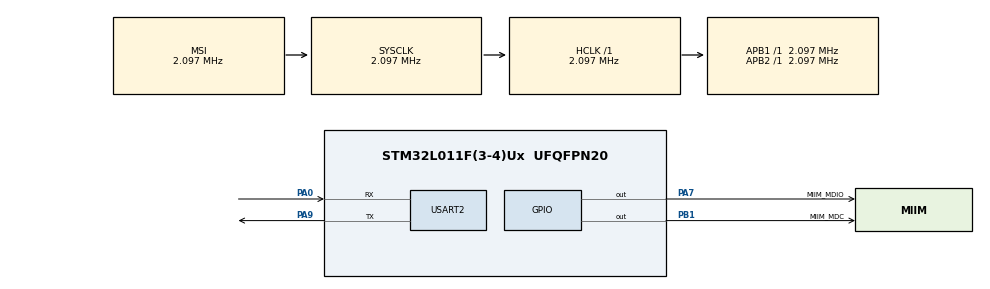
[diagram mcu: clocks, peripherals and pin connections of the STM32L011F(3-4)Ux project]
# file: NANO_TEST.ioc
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Mcu.Family=STM32L0
RCC.MSI_VALUE=2097000
Dma.USART2_TX.1.Priority=DMA_PRIORITY_LOW
PA0-CK_IN.Mode=Asynchronous
Dma.USART2_TX.1.MemInc=DMA_MINC_ENABLE
Dma.USART2_RX.0.Direction=DMA_PERIPH_TO_MEMORY
Dma.USART2_TX.1.PeriphDataAlignment=DMA_PDATAALIGN_BYTE
ProjectManager.StackSize=0x400
Dma.USART2_RX.0.Mode=DMA_NORMAL
PA13.Signal=SYS_SWDIO
RCC.HSI16_VALUE=16000000
PA9.Mode=Asynchronous
ProjectManager.TargetToolchain=STM32CubeIDE
Dma.USART2_RX.0.Priority=DMA_PRIORITY_LOW
Dma.USART2_RX.0.PeriphDataAlignment=DMA_PDATAALIGN_BYTE
RCC.APB2TimFreq_Value=2097000
PA9.Signal=USART2_TX
Dma.USART2_TX.1.Mode=DMA_NORMAL
RCC.LSE_VALUE=32768
RCC.AHBFreq_Value=2097000
RCC.HSE_VALUE=8000000
Dma.USART2_TX.1.PeriphInc=DMA_PINC_DISABLE
board=custom
USART2.VirtualMode-Asynchronous=VM_ASYNC
RCC.VCOOutputFreq_Value=48000000
NVIC.DMA1_Channel4_5_IRQn=true\:0\:0\:false\:false\:true\:false\:true
PA0-CK_IN.Signal=USART2_RX
Dma.USART2_TX.1.Direction=DMA_MEMORY_TO_PERIPH
RCC.APB2Freq_Value=2097000
Dma.USART2_RX.0.MemDataAlignment=DMA_MDATAALIGN_BYTE
PA14.Mode=Serial_Wire
Dma.USART2_TX.1.Instance=DMA1_Channel4
PB1.GPIO_Label=MIIM_MDC
Dma.USART2_RX.0.Instance=DMA1_Channel5
PA13.Mode=Serial_Wire
Mcu.Name=STM32L011F(3-4)Ux
Dma.USART2_RX.0.MemInc=DMA_MINC_ENABLE
RCC.SYSCLKFreq_VALUE=2097000
Mcu.Package=UFQFPN20
PB1.Signal=GPIO_Output
PA7.GPIO_Label=MIIM_MDIO
Dma.USART2_RX.0.PeriphInc=DMA_PINC_DISABLE
PA14.Signal=SYS_SWCLK
ProjectManager.HeapSize=0x200
RCC.HSI_VALUE=16000000
Dma.Request1=USART2_TX
RCC.APB1TimFreq_Value=2097000
Dma.USART2_TX.1.MemDataAlignment=DMA_MDATAALIGN_BYTE
RCC.APB1Freq_Value=2097000
Dma.Request0=USART2_RX
PA7.Signal=GPIO_Output

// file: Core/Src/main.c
/* USER CODE BEGIN Header */
/**
  ******************************************************************************
  * @file           : main.c
  * @brief          : Main program body
  ******************************************************************************
  * @attention
  *
  * <h2><center>&copy; Copyright (c) 2021 STMicroelectronics.
  * All rights reserved.</center></h2>
  *
  * This software component is licensed by ST under BSD 3-Clause license,
  * the "License"; You may not use this file except in compliance with the
  * License. You may obtain a copy of the License at:
  *                        opensource.org/licenses/BSD-3-Clause
  *
  ******************************************************************************
  */
/* USER CODE END Header */
#include "main.h"
#include "miim_library_nano.h"

/* USER CODE BEGIN PD */
#define buffer_size 4
#define stop_condition 100
#define erase_condition 101

#define data_eeprom_base_addr 0x08080000
#define data_eeprom_end_addr 0x080801FF

#define maximum_commands 20

#define data_eeprom_first_byte_mask 255
#define data_eeprom_second_byte_mask 65280
#define data_eeprom_third_byte_mask 16711680
#define data_eeprom_fourth_byte_mask 4278190080
/* USER CODE END PD */

UART_HandleTypeDef huart2;
DMA_HandleTypeDef hdma_usart2_rx;
DMA_HandleTypeDef hdma_usart2_tx;

/* USER CODE BEGIN PV */
uint8_t Is_Commands_Ready = 0;

uint8_t Error[] = {2};
uint8_t Success[] = {1};

uint8_t Buffer_Tx[buffer_size] = {80,81,82,83};
uint8_t Buffer_Rx[buffer_size];

uint8_t Generic_Index;
uint32_t Current_Eeprom_Addr;

uint8_t Commands_Total[maximum_commands][buffer_size];
uint8_t Commands_Current_Index = 0;

uint8_t PHY;
uint8_t REG;
uint16_t Data;

uint8_t Condition;

/* USER CODE END PV */

void SystemClock_Config(void);
static void MX_GPIO_Init(void);
static void MX_DMA_Init(void);
static void MX_USART2_UART_Init(void);

/* USER CODE BEGIN 0 */
void HAL_UART_RxCpltCallback(UART_HandleTypeDef *huart) {
	if(Is_Erase()) {
		Erase_Eeprom_All();
	} else if(Has_Stopped()) {
		Is_Commands_Ready = 1;
	} else {
		Store_Temp_Command();
	}

	HAL_UART_Receive_DMA(&huart2, Buffer_Rx, buffer_size);
}

uint8_t Has_Stopped() {
	uint8_t value_to_check = Buffer_Rx[0];
	switch(value_to_check) {
		case stop_condition:
			return 1;
		default:
			return 0;
	}
	return 0;
}

uint8_t Is_Erase() {
	uint8_t value_to_check = Buffer_Rx[0];
	switch(value_to_check) {
		case erase_condition:
			return 1;
		default:
			return 0;
	}
	return 0;
}

void Store_Temp_Command() {
	for(Generic_Index = 0; Generic_Index < buffer_size; Generic_Index++) {
		Commands_Total[Commands_Current_Index][Generic_Index] = Buffer_Rx[Generic_Index];
	}

	Commands_Current_Index++;
}

void Write_Commands_To_IC() {
	for(uint8_t Cmd_Index = 0; Cmd_Index < maximum_commands; Cmd_Index++) {
		PHY = Commands_Total[Cmd_Index][0];
		REG = Commands_Total[Cmd_Index][1];

		// Test to see if PHY or REG are not acceptable values
		if(PHY < 2 || PHY > 24 || REG < 0 || REG > 32) {
			break;
		}

		// We are going to assume that for now, the data is sent with the smallest byte [0:7] bits first, then [8:15]
		Data = ((uint16_t) Commands_Total[Cmd_Index][3] << 8) | (Commands_Total[Cmd_Index][2]);

		MIIM_DRIVER_WRITE(PHY, REG, Data);
		MDIO_WAIT(1);
	}

	// Uncomment the following code to verify what was written to the MCU
	/*
	for(uint8_t Cmd_Index = 0; Cmd_Index < maximum_commands; Cmd_Index++) {
		PHY = Commands_Total[Cmd_Index][0];
		REG = Commands_Total[Cmd_Index][1];
		if(PHY < 2 || PHY > 24 || REG < 0 || REG > 32) {
			break;
		}

		// To verify what was written to the switch chip, add "dynamic printf"-type breakpoint to the following MDIO_WAIT line.
		// "%u:%02u 0x%02x 0x%02x (%u %u)\n", PHY, REG, Data & 0xFF, (Data >> 8) & 0xFF, Data & 0xFF, (Data >> 8) & 0xFF
		Data = MIIM_DRIVER_READ(PHY, REG);
		MDIO_WAIT(1);
	}
	// */

}

uint8_t Save_Commands_To_Eeprom() {
	uint32_t Current_Eeprom_Addr = data_eeprom_base_addr;
	uint32_t Data_Word;

	if (HAL_FLASHEx_DATAEEPROM_Unlock() == HAL_OK) {
		for(Generic_Index = 0; Generic_Index < maximum_commands; Generic_Index++) {
			// Write to the EEPROM address in multiples of 4 bytes as we are writing a 32 bit word at a time
			Current_Eeprom_Addr += 4;

			Erase_Eeprom_Addr(Current_Eeprom_Addr);

			// Create the 32 bit word from the 4x byte command
			Data_Word = (((uint32_t) Commands_Total[Generic_Index][3] << 24) | ((uint32_t) Commands_Total[Generic_Index][2] << 16) | ((uint32_t) Commands_Total[Generic_Index][1] << 8) | (Commands_Total[Generic_Index][0]));

			Write_Eeprom_Addr(Current_Eeprom_Addr, Data_Word);
		}
		if(HAL_FLASHEx_DATAEEPROM_Lock() == HAL_OK) {
			return 0;
		} else {
			Error_Handler();
			return 1;
		}
	} else {
		Error_Handler();
		return 1;
	}
}

void Erase_Eeprom_Addr(uint32_t Eeprom_Address) {
	if(HAL_FLASHEx_DATAEEPROM_Erase(Eeprom_Address) == HAL_OK) {
		return;
	} else {
		Error_Handler();
	}
}

void Write_Eeprom_Addr(uint32_t Eeprom_Address, uint32_t Data) {
	if(HAL_FLASHEx_DATAEEPROM_Program(FLASH_TYPEPROGRAMDATA_WORD, Eeprom_Address, Data) == HAL_OK) {
		return;
	} else {
		Error_Handler();
	}
}

void Read_Eeprom_Data() {
	uint32_t Current_Eeprom_Addr = data_eeprom_base_addr;
	uint32_t Command;

	for(Generic_Index = 0; Generic_Index < maximum_commands; Generic_Index++) {
		Current_Eeprom_Addr += 4;
		Command = *(uint32_t *)(Current_Eeprom_Addr);

		PHY = (uint8_t) (Command & data_eeprom_first_byte_mask);
		REG = (uint8_t) ((Command & data_eeprom_second_byte_mask) >> 8);

		// Check for invalid PHY and REG
		if(PHY < 2 || PHY > 24 || REG < 0 || REG > 32) {
			break;
		}

		Commands_Total[Generic_Index][0] = PHY;
		Commands_Total[Generic_Index][1] = REG;
		Commands_Total[Generic_Index][2] = (uint8_t) ((Command & data_eeprom_third_byte_mask) >> 16);
		Commands_Total[Generic_Index][3] = (uint8_t) ((Command & data_eeprom_fourth_byte_mask) >> 24);
	}
}

void Configuration_From_Eeprom() {
	Read_Eeprom_Data();
	Write_Commands_To_IC();

	// Reset each value in the Commands_Total array
	for(Generic_Index = 0; Generic_Index < maximum_commands; Generic_Index++) {
		Commands_Total[Generic_Index][0] = 0;
		Commands_Total[Generic_Index][1] = 0;
		Commands_Total[Generic_Index][2] = 0;
		Commands_Total[Generic_Index][3] = 0;
	}
}

uint8_t Erase_Eeprom_All(void) {
	uint32_t Current_Eeprom_Addr = data_eeprom_base_addr;

	if(HAL_FLASHEx_DATAEEPROM_Unlock() == HAL_OK) {
		for(Generic_Index = 0; Generic_Index < maximum_commands; Generic_Index++) {
			Current_Eeprom_Addr += 4;

			Erase_Eeprom_Addr(Current_Eeprom_Addr);

		}
		if(HAL_FLASHEx_DATAEEPROM_Lock() == HAL_OK) {
			return 0;
		} else {
			Error_Handler();
			return 1;
		}
	} else {
		Error_Handler();
		return 1;
	}
}

void Send_Error_Via_Uart() {
	HAL_UART_Transmit(&huart2, Error, sizeof(Error), 100);
}

void Send_Success_Via_Uart() {
	HAL_UART_Transmit(&huart2, Success, sizeof(Success), 100);
}

/* USER CODE END 0 */

int main(void)
{

  /* MCU Configuration--------------------------------------------------------*/

  /* Reset of all peripherals, Initializes the Flash interface and the Systick. */
  HAL_Init();

  /* Configure the system clock */
  SystemClock_Config();

  /* Initialize all configured peripherals */
  MX_GPIO_Init();
  MX_DMA_Init();
  MX_USART2_UART_Init();
  /* USER CODE BEGIN 2 */

  HAL_Delay(1000);
  Configuration_From_Eeprom();

  HAL_UART_Receive_DMA(&huart2, Buffer_Rx, buffer_size);

  /* USER CODE END 2 */

  /* Infinite loop */
  while (1)
  {

    /* USER CODE BEGIN 3 */
	  if(Is_Commands_Ready == 1) {
	  	Write_Commands_To_IC();
	  	Condition = Save_Commands_To_Eeprom();
	  	if(Condition == 0) {
	  	    // Success
	  		Send_Success_Via_Uart();
	  	} else if(Condition == 1) {
	  		// Failure
	  		Send_Error_Via_Uart();
	  	}

	  	Is_Commands_Ready = 0;
	  	Commands_Current_Index = 0;

	  	// Reset the LED to emit white light
	  	HAL_Delay(500);
	  }
  }
  /* USER CODE END 3 */
}

void SystemClock_Config(void)
{
  RCC_OscInitTypeDef RCC_OscInitStruct = {0};
  RCC_ClkInitTypeDef RCC_ClkInitStruct = {0};
  RCC_PeriphCLKInitTypeDef PeriphClkInit = {0};

  /** Configure the main internal regulator output voltage
  */
  __HAL_PWR_VOLTAGESCALING_CONFIG(PWR_REGULATOR_VOLTAGE_SCALE1);
  /** Initializes the RCC Oscillators according to the specified parameters
  * in the RCC_OscInitTypeDef structure.
  */
  RCC_OscInitStruct.OscillatorType = RCC_OSCILLATORTYPE_MSI;
  RCC_OscInitStruct.MSIState = RCC_MSI_ON;
  RCC_OscInitStruct.MSICalibrationValue = 0;
  RCC_OscInitStruct.MSIClockRange = RCC_MSIRANGE_5;
  RCC_OscInitStruct.PLL.PLLState = RCC_PLL_NONE;
  if (HAL_RCC_OscConfig(&RCC_OscInitStruct) != HAL_OK)
  {
    Error_Handler();
  }
  /** Initializes the CPU, AHB and APB buses clocks
  */
  RCC_ClkInitStruct.ClockType = RCC_CLOCKTYPE_HCLK|RCC_CLOCKTYPE_SYSCLK
                              |RCC_CLOCKTYPE_PCLK1|RCC_CLOCKTYPE_PCLK2;
  RCC_ClkInitStruct.SYSCLKSource = RCC_SYSCLKSOURCE_MSI;
  RCC_ClkInitStruct.AHBCLKDivider = RCC_SYSCLK_DIV1;
  RCC_ClkInitStruct.APB1CLKDivider = RCC_HCLK_DIV1;
  RCC_ClkInitStruct.APB2CLKDivider = RCC_HCLK_DIV1;

  if (HAL_RCC_ClockConfig(&RCC_ClkInitStruct, FLASH_LATENCY_0) != HAL_OK)
  {
    Error_Handler();
  }
  PeriphClkInit.PeriphClockSelection = RCC_PERIPHCLK_USART2;
  PeriphClkInit.Usart2ClockSelection = RCC_USART2CLKSOURCE_PCLK1;
  if (HAL_RCCEx_PeriphCLKConfig(&PeriphClkInit) != HAL_OK)
  {
    Error_Handler();
  }
}

static void MX_USART2_UART_Init(void)
{

  huart2.Instance = USART2;
  huart2.Init.BaudRate = 115200;
  huart2.Init.WordLength = UART_WORDLENGTH_8B;
  huart2.Init.StopBits = UART_STOPBITS_1;
  huart2.Init.Parity = UART_PARITY_NONE;
  huart2.Init.Mode = UART_MODE_TX_RX;
  huart2.Init.HwFlowCtl = UART_HWCONTROL_NONE;
  huart2.Init.OverSampling = UART_OVERSAMPLING_16;
  huart2.Init.OneBitSampling = UART_ONE_BIT_SAMPLE_DISABLE;
  huart2.AdvancedInit.AdvFeatureInit = UART_ADVFEATURE_NO_INIT;
  if (HAL_UART_Init(&huart2) != HAL_OK)
  {
    Error_Handler();
  }

}

static void MX_DMA_Init(void)
{

  /* DMA controller clock enable */
  __HAL_RCC_DMA1_CLK_ENABLE();

  /* DMA interrupt init */
  /* DMA1_Channel4_5_IRQn interrupt configuration */
  HAL_NVIC_SetPriority(DMA1_Channel4_5_IRQn, 0, 0);
  HAL_NVIC_EnableIRQ(DMA1_Channel4_5_IRQn);

}

static void MX_GPIO_Init(void)
{
  GPIO_InitTypeDef GPIO_InitStruct = {0};

  /* GPIO Ports Clock Enable */
  __HAL_RCC_GPIOA_CLK_ENABLE();
  __HAL_RCC_GPIOB_CLK_ENABLE();

  /*Configure GPIO pin Output Level */
  HAL_GPIO_WritePin(MIIM_MDIO_GPIO_Port, MIIM_MDIO_Pin, GPIO_PIN_RESET);

  /*Configure GPIO pin Output Level */
  HAL_GPIO_WritePin(MIIM_MDC_GPIO_Port, MIIM_MDC_Pin, GPIO_PIN_RESET);

  /*Configure GPIO pin : MIIM_MDIO_Pin */
  GPIO_InitStruct.Pin = MIIM_MDIO_Pin;
  GPIO_InitStruct.Mode = GPIO_MODE_OUTPUT_PP;
  GPIO_InitStruct.Pull = GPIO_NOPULL;
  GPIO_InitStruct.Speed = GPIO_SPEED_FREQ_LOW;
  HAL_GPIO_Init(MIIM_MDIO_GPIO_Port, &GPIO_InitStruct);

  /*Configure GPIO pin : MIIM_MDC_Pin */
  GPIO_InitStruct.Pin = MIIM_MDC_Pin;
  GPIO_InitStruct.Mode = GPIO_MODE_OUTPUT_PP;
  GPIO_InitStruct.Pull = GPIO_NOPULL;
  GPIO_InitStruct.Speed = GPIO_SPEED_FREQ_LOW;
  HAL_GPIO_Init(MIIM_MDC_GPIO_Port, &GPIO_InitStruct);

}

void Error_Handler(void)
{
  __disable_irq();
  while (1)
  {
  }
}

/************************ (C) COPYRIGHT STMicroelectronics *****END OF FILE****/
